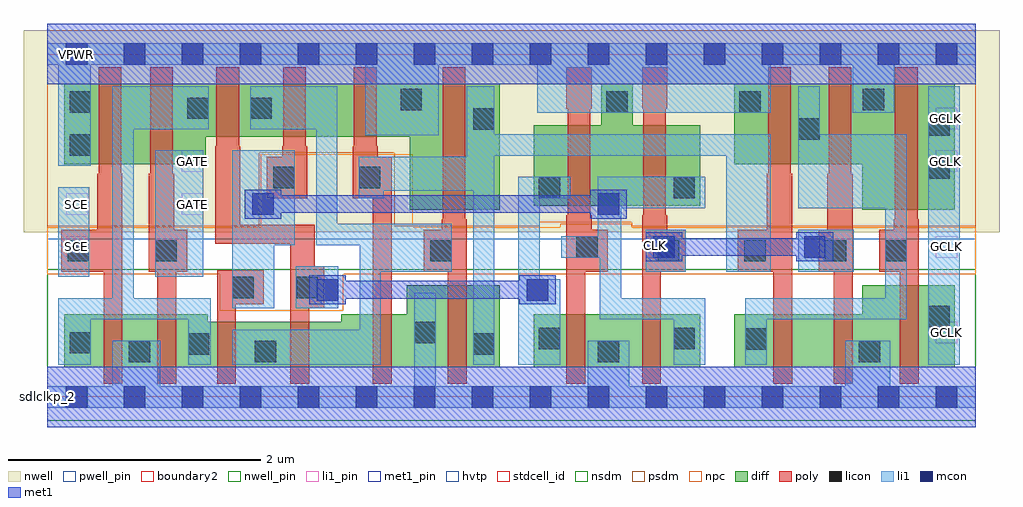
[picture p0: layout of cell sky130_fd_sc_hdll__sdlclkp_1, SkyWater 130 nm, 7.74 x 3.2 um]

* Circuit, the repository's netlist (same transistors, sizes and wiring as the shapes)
* Copyright 2020 The SkyWater PDK Authors
*
* Licensed under the Apache License, Version 2.0 (the "License");
* you may not use this file except in compliance with the License.
* You may obtain a copy of the License at
*
*     https://www.apache.org/licenses/LICENSE-2.0
*
* Unless required by applicable law or agreed to in writing, software
* distributed under the License is distributed on an "AS IS" BASIS,
* WITHOUT WARRANTIES OR CONDITIONS OF ANY KIND, either express or implied.
* See the License for the specific language governing permissions and
* limitations under the License.
*
* SPDX-License-Identifier: Apache-2.0

.SUBCKT sky130_fd_sc_hdll__sdlclkp_1 CLK GATE SCE VGND VNB VPB VPWR GCLK
*.PININFO CLK:I GATE:I SCE:I VGND:I VNB:I VPB:I VPWR:I GCLK:O
MI662 net88 m1 VPWR VPB sky130_fd_pr__pfet_01v8_hvt m=1 w=0.42U l=0.18U mult=1
+ sa=0.265 sb=0.265 sd=0.28 area=0.063 perim=1.14
MI664 M0 clkpos net88 VPB sky130_fd_pr__pfet_01v8_hvt m=1 w=0.42U l=0.18U mult=1
+ sa=0.265 sb=0.265 sd=0.28 area=0.063 perim=1.14
MI659 net76 CLK VPWR VPB sky130_fd_pr__pfet_01v8_hvt m=1 w=0.64U l=0.18U mult=1
+ sa=0.265 sb=0.265 sd=0.28 area=0.063 perim=1.14
MI658 net76 m1 VPWR VPB sky130_fd_pr__pfet_01v8_hvt m=1 w=0.64U l=0.18U mult=1
+ sa=0.265 sb=0.265 sd=0.28 area=0.063 perim=1.14
MI19 m1 M0 VPWR VPB sky130_fd_pr__pfet_01v8_hvt m=1 w=1.0U l=0.18U mult=1 sa=0.265
+ sb=0.265 sd=0.28 area=0.063 perim=1.14
MI22 net68 SCE VPWR VPB sky130_fd_pr__pfet_01v8_hvt m=1 w=0.64U l=0.18U mult=1
+ sa=0.265 sb=0.265 sd=0.28 area=0.063 perim=1.14
MI21 net116 GATE net68 VPB sky130_fd_pr__pfet_01v8_hvt m=1 w=0.64U l=0.18U mult=1
+ sa=0.265 sb=0.265 sd=0.28 area=0.063 perim=1.14
MI47 clkneg clkpos VPWR VPB sky130_fd_pr__pfet_01v8_hvt m=1 w=0.64U l=0.18U mult=1
+ sa=0.265 sb=0.265 sd=0.28 area=0.063 perim=1.14
MI45 clkpos CLK VPWR VPB sky130_fd_pr__pfet_01v8_hvt m=1 w=0.64U l=0.18U mult=1
+ sa=0.265 sb=0.265 sd=0.28 area=0.063 perim=1.14
MI660 GCLK net76 VPWR VPB sky130_fd_pr__pfet_01v8_hvt m=1 w=1.0U l=0.18U mult=1
+ sa=0.265 sb=0.265 sd=0.28 area=0.063 perim=1.14
MI43 net116 clkneg M0 VPB sky130_fd_pr__pfet_01v8_hvt m=1 w=0.42U l=0.18U mult=1
+ sa=0.265 sb=0.265 sd=0.28 area=0.063 perim=1.14
MI42 net116 clkpos M0 VNB sky130_fd_pr__nfet_01v8 m=1 w=0.36U l=0.15U mult=1 sa=0.265
+ sb=0.265 sd=0.28 area=0.063 perim=1.14
MI20 m1 M0 VGND VNB sky130_fd_pr__nfet_01v8 m=1 w=0.65U l=0.15U mult=1 sa=0.265
+ sb=0.265 sd=0.28 area=0.063 perim=1.14
MI655 M0 clkneg net123 VNB sky130_fd_pr__nfet_01v8 m=1 w=0.36U l=0.15U mult=1 sa=0.265
+ sb=0.265 sd=0.28 area=0.063 perim=1.14
MI654 net123 m1 VGND VNB sky130_fd_pr__nfet_01v8 m=1 w=0.42U l=0.15U mult=1 sa=0.265
+ sb=0.265 sd=0.28 area=0.063 perim=1.14
MI24 net116 SCE VGND VNB sky130_fd_pr__nfet_01v8 m=1 w=0.42U l=0.15U mult=1 sa=0.265
+ sb=0.265 sd=0.28 area=0.063 perim=1.14
MI657 net112 CLK VGND VNB sky130_fd_pr__nfet_01v8 m=1 w=0.42U l=0.15U mult=1 sa=0.265
+ sb=0.265 sd=0.28 area=0.063 perim=1.14
MI656 net76 m1 net112 VNB sky130_fd_pr__nfet_01v8 m=1 w=0.42U l=0.15U mult=1 sa=0.265
+ sb=0.265 sd=0.28 area=0.063 perim=1.14
MI23 net116 GATE VGND VNB sky130_fd_pr__nfet_01v8 m=1 w=0.42U l=0.15U mult=1 sa=0.265
+ sb=0.265 sd=0.28 area=0.063 perim=1.14
MI46 clkneg clkpos VGND VNB sky130_fd_pr__nfet_01v8 m=1 w=0.42U l=0.15U mult=1
+ sa=0.265 sb=0.265 sd=0.28 area=0.063 perim=1.14
MI44 clkpos CLK VGND VNB sky130_fd_pr__nfet_01v8 m=1 w=0.42U l=0.15U mult=1 sa=0.265
+ sb=0.265 sd=0.28 area=0.063 perim=1.14
MI653 GCLK net76 VGND VNB sky130_fd_pr__nfet_01v8 m=1 w=0.65U l=0.15U mult=1 sa=0.265
+ sb=0.265 sd=0.28 area=0.063 perim=1.14
.ENDS sky130_fd_sc_hdll__sdlclkp_1

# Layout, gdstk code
import gdstk
lib = gdstk.Library(unit=1e-6, precision=1e-09)
def R(c, l, rs):  # rectangles x0, y0, x1, y1
    for r in rs: c.add(gdstk.rectangle(r[:2], r[2:], *l))
def A(c, l, x, y, w, h, nx, ny, dx, dy):  # array of equal rectangles
    R(c, l, [(x+i*dx, y+j*dy, x+i*dx+w, y+j*dy+h) for i in range(nx) for j in range(ny)])
def P(c, l, *ps):  # polygons
    for p in ps: c.add(gdstk.Polygon(p, *l))
nwell_pin = (64, 16)
nwell = (64, 20)
diff = (65, 20)
poly = (66, 20)
licon = (66, 44)
li1_pin = (67, 16)
li1 = (67, 20)
mcon = (67, 44)
met1_pin = (68, 16)
met1 = (68, 20)
hvtp = (78, 44)
stdcell_id = (81, 4)
nsdm = (93, 44)
psdm = (94, 20)
npc = (95, 20)
pwell_pin = (122, 16)
boundary2 = (236, 0)

sky130_fd_sc_hdll__sdlcl = lib.new_cell('sky130_fd_sc_hdll__sdlclkp_1')
R(sky130_fd_sc_hdll__sdlcl, nwell_pin, [(0.15,2.635,0.32,2.805)])
R(sky130_fd_sc_hdll__sdlcl, nwell, [(-0.19,1.305,7.55,2.91)])
R(sky130_fd_sc_hdll__sdlcl, diff, [(3.855,0.235,5.175,0.655)])
P(sky130_fd_sc_hdll__sdlcl, diff, [(7.195,2.485),(5.445,2.485),(5.445,1.845),(6.46,1.845),(6.46,1.485),(7.195,1.485)],
  [(3.585,0.885),(2.85,0.885),(2.85,0.655),(2.33,0.655),(2.33,0.595),(1.27,0.595),(1.27,0.655),(0.135,0.655),(0.135,0.235),(3.585,0.235)],
  [(3.585,2.485),(0.135,2.485),(0.135,1.845),(1.255,1.845),(1.255,2.065),(2.875,2.065),(2.875,1.485),(3.585,1.485)],
  [(7.195,0.885),(6.46,0.885),(6.46,0.655),(5.445,0.655),(5.445,0.235),(7.195,0.235)],
  [(5.175,2.155),(4.64,2.155),(4.64,2.485),(4.39,2.485),(4.39,2.155),(3.855,2.155),(3.855,1.515),(5.175,1.515)])
P(sky130_fd_sc_hdll__sdlcl, poly, [(0.595,1.77),(0.585,1.77),(0.585,2.615),(0.405,2.615),(0.405,1.77),(0.395,1.77),(0.395,1.325),(0.11,1.325),(0.11,0.995),(0.445,0.995),(0.445,0.105),(0.595,0.105)],
  [(1.11,1.325),(1.005,1.325),(1.005,1.77),(0.995,1.77),(0.995,2.615),(0.815,2.615),(0.815,1.77),(0.805,1.77),(0.805,0.995),(0.87,0.995),(0.87,0.105),(1.02,0.105),(1.02,0.995),(1.11,0.995)],
  [(1.715,1.005),(1.345,1.005),(1.345,0.105),(1.495,0.105),(1.495,0.735),(1.715,0.735)],
  [(2.06,1.99),(2.05,1.99),(2.05,2.615),(1.87,2.615),(1.87,1.99),(1.86,1.99),(1.86,1.905),(1.74,1.905),(1.74,1.575),(2.06,1.575)],
  [(2.195,1.035),(2.12,1.035),(2.12,1.365),(1.53,1.365),(1.53,1.99),(1.52,1.99),(1.52,2.615),(1.34,2.615),(1.34,1.99),(1.33,1.99),(1.33,1.215),(1.925,1.215),(1.925,0.105),(2.075,0.105),(2.075,0.705),(2.195,0.705)],
  [(2.73,1.905),(2.62,1.905),(2.62,1.99),(2.61,1.99),(2.61,2.615),(2.43,2.615),(2.43,1.99),(2.42,1.99),(2.42,1.575),(2.58,1.575),(2.58,0.105),(2.73,0.105)],
  [(3.325,1.41),(3.315,1.41),(3.315,2.615),(3.135,2.615),(3.135,1.41),(3.125,1.41),(3.125,1.325),(2.985,1.325),(2.985,0.995),(3.175,0.995),(3.175,0.105),(3.325,0.105)],
  [(4.445,1.325),(4.315,1.325),(4.315,1.44),(4.305,1.44),(4.305,2.285),(4.315,2.285),(4.315,2.615),(4.115,2.615),(4.115,2.285),(4.125,2.285),(4.125,1.44),(4.115,1.44),(4.115,0.105),(4.265,0.105),(4.265,0.995),(4.445,0.995)],
  [(5.06,1.325),(4.915,1.325),(4.915,1.44),(4.905,1.44),(4.905,2.285),(4.915,2.285),(4.915,2.615),(4.715,2.615),(4.715,2.285),(4.725,2.285),(4.725,1.44),(4.715,1.44),(4.715,0.105),(4.865,0.105),(4.865,0.995),(5.06,0.995)],
  [(5.905,1.77),(5.895,1.77),(5.895,2.615),(5.715,2.615),(5.715,1.77),(5.705,1.77),(5.705,1.325),(5.475,1.325),(5.475,0.995),(5.755,0.995),(5.755,0.105),(5.905,0.105)],
  [(6.385,1.77),(6.375,1.77),(6.375,2.615),(6.195,2.615),(6.195,1.77),(6.185,1.77),(6.185,1.325),(6.115,1.325),(6.115,0.995),(6.235,0.995),(6.235,0.105),(6.385,0.105)],
  [(6.91,1.41),(6.9,1.41),(6.9,2.615),(6.72,2.615),(6.72,1.41),(6.71,1.41),(6.71,1.325),(6.595,1.325),(6.595,0.995),(6.76,0.995),(6.76,0.105),(6.91,0.105)])
R(sky130_fd_sc_hdll__sdlcl, licon, [(0.645,0.275,0.815,0.445), (1.645,0.275,1.815,0.445), (4.365,0.275,4.535,0.445), (6.435,0.275,6.605,0.445), (1.115,0.335,1.285,0.505), (3.375,0.335,3.545,0.505), (0.175,0.345,0.345,0.515), (5.535,0.375,5.705,0.545), (3.895,0.38,4.065,0.55), (4.965,0.38,5.135,0.55), (2.91,0.425,3.08,0.595), (6.985,0.555,7.155,0.725), (1.465,0.785,1.635,0.955), (1.975,0.785,2.145,0.955), (0.16,1.075,0.33,1.245), (0.855,1.075,1.025,1.245), (3.035,1.075,3.205,1.245), (4.84,1.075,5.01,1.245), (5.525,1.075,5.695,1.245), (6.165,1.075,6.335,1.245), (6.645,1.075,6.815,1.245), (4.195,1.105,4.365,1.275), (3.895,1.575,4.065,1.745), (4.965,1.575,5.135,1.745), (1.79,1.655,1.96,1.825), (2.47,1.655,2.64,1.825), (6.985,1.73,7.155,1.9), (0.175,1.915,0.345,2.085), (5.955,2.04,6.125,2.21), (6.985,2.07,7.155,2.24), (3.375,2.12,3.545,2.29), (1.11,2.205,1.28,2.375), (1.61,2.205,1.78,2.375), (0.175,2.255,0.345,2.425), (4.43,2.255,4.6,2.425), (5.485,2.255,5.655,2.425), (2.8,2.275,2.97,2.445), (6.465,2.275,6.635,2.445)])
A(sky130_fd_sc_hdll__sdlcl, li1_pin, 7.045, 0.425, 0.17, 0.17, 1, 3, 0, 0.68)
R(sky130_fd_sc_hdll__sdlcl, li1_pin, [(0.15,1.105,0.32,1.275), (0.15,1.445,0.32,1.615), (1.065,1.445,1.235,1.615), (1.065,1.785,1.235,1.955), (7.045,2.125,7.215,2.295)])
R(sky130_fd_sc_hdll__sdlcl, li1, [(6.985,0.255,7.235,2.465), (1.97,0.705,2.305,1.035), (0.085,0.955,0.33,1.665), (0.855,0.955,1.235,1.955), (4.745,0.995,5.06,1.325), (5.955,0.995,6.395,1.325)])
P(sky130_fd_sc_hdll__sdlcl, li1, [(7.36,2.805),(0,2.805),(0,2.635),(0.085,2.635),(0.085,1.835),(0.345,1.835),(0.345,2.635),(2.52,2.635),(2.52,2.075),(3.105,2.075),(3.105,2.635),(3.885,2.635),(3.885,2.255),(5.735,2.255),(5.735,2.635),(6.385,2.635),(6.385,2.255),(6.715,2.255),(6.715,2.635),(7.36,2.635)],
  [(5.735,2.085),(3.545,2.085),(3.545,2.465),(3.325,2.465),(3.325,1.905),(2.47,1.905),(2.47,1.575),(2.665,1.575),(2.665,1.635),(3.375,1.635),(3.375,0.255),(3.545,0.255),(3.545,1.915),(5.385,1.915),(5.385,0.995),(5.735,0.995)],
  [(5.215,1.745),(4.365,1.745),(4.365,1.275),(4.075,1.275),(4.075,1.105),(4.38,1.105),(4.38,0.615),(4.965,0.615),(4.965,0.255),(5.215,0.255),(5.215,0.785),(4.55,0.785),(4.55,1.495),(5.215,1.495)],
  [(4.065,0.935),(3.905,0.935),(3.905,1.575),(4.145,1.575),(4.145,1.745),(3.735,1.745),(3.735,0.255),(4.065,0.255)],
  [(3.205,1.375),(2.3,1.375),(2.3,2.465),(1.61,2.465),(1.61,2.125),(2.13,2.125),(2.13,1.205),(2.475,1.205),(2.475,0.535),(1.465,0.535),(1.465,0.255),(2.645,0.255),(2.645,0.995),(3.205,0.995)],
  [(1.96,1.955),(1.465,1.955),(1.465,0.705),(1.8,0.705),(1.8,1.205),(1.96,1.205)],
  [(1.28,2.465),(0.515,2.465),(0.515,0.785),(0.085,0.785),(0.085,0.255),(0.345,0.255),(0.345,0.615),(1.115,0.615),(1.115,0.255),(1.295,0.255),(1.295,0.785),(0.685,0.785),(0.685,2.125),(1.28,2.125)],
  [(7.36,0.085),(6.685,0.085),(6.685,0.445),(6.325,0.445),(6.325,0.085),(4.615,0.085),(4.615,0.445),(4.285,0.445),(4.285,0.085),(3.08,0.085),(3.08,0.825),(2.91,0.825),(2.91,0.085),(0.895,0.085),(0.895,0.445),(0.515,0.445),(0.515,0.085),(0,0.085),(0,-0.085),(7.36,-0.085)],
  [(6.815,2.085),(6.125,2.085),(6.125,2.465),(5.955,2.465),(5.955,1.495),(6.645,1.495),(6.645,0.785),(5.535,0.785),(5.535,0.255),(5.705,0.255),(5.705,0.615),(6.815,0.615)])
A(sky130_fd_sc_hdll__sdlcl, mcon, 0.145, -0.085, 0.17, 0.17, 16, 2, 0.46, 2.72)
R(sky130_fd_sc_hdll__sdlcl, mcon, [(2.135,0.765,2.305,0.935), (3.8,0.765,3.97,0.935), (4.805,1.105,4.975,1.275), (6,1.105,6.17,1.275), (1.625,1.445,1.795,1.615), (4.365,1.445,4.535,1.615)])
R(sky130_fd_sc_hdll__sdlcl, met1_pin, [(0.15,-0.085,0.32,0.085), (4.745,1.105,4.915,1.275), (0.15,2.635,0.32,2.805)])
R(sky130_fd_sc_hdll__sdlcl, met1, [(0,-0.24,7.36,0.24), (0,2.48,7.36,2.96)])
P(sky130_fd_sc_hdll__sdlcl, met1, [(4.03,0.965),(3.74,0.965),(3.74,0.92),(2.365,0.92),(2.365,0.965),(2.075,0.965),(2.075,0.735),(2.365,0.735),(2.365,0.78),(3.74,0.78),(3.74,0.735),(4.03,0.735)],
  [(6.23,1.305),(5.94,1.305),(5.94,1.26),(5.035,1.26),(5.035,1.305),(4.745,1.305),(4.745,1.075),(5.035,1.075),(5.035,1.12),(5.94,1.12),(5.94,1.075),(6.23,1.075)],
  [(4.595,1.645),(4.305,1.645),(4.305,1.6),(1.855,1.6),(1.855,1.645),(1.565,1.645),(1.565,1.415),(1.855,1.415),(1.855,1.46),(4.305,1.46),(4.305,1.415),(4.595,1.415)])
R(sky130_fd_sc_hdll__sdlcl, hvtp, [(0,1.25,7.36,2.72)])
R(sky130_fd_sc_hdll__sdlcl, stdcell_id, [(0,0,7.36,2.72)])
R(sky130_fd_sc_hdll__sdlcl, nsdm, [(0,-0.19,7.36,1.015)])
P(sky130_fd_sc_hdll__sdlcl, psdm, [(7.36,2.91),(0,2.91),(0,1.355),(1.68,1.355),(1.68,1.935),(2.75,1.935),(2.75,1.355),(3.905,1.355),(3.905,1.385),(4.635,1.385),(4.635,1.355),(7.36,1.355)])
P(sky130_fd_sc_hdll__sdlcl, npc, [(7.36,1.345),(4.635,1.345),(4.635,1.375),(4.065,1.375),(4.065,1.345),(2.895,1.345),(2.895,1.925),(1.69,1.925),(1.69,1.345),(0,1.345),(0,0.975),(1.365,0.975),(1.365,0.685),(2.345,0.685),(2.345,0.975),(7.36,0.975)])
R(sky130_fd_sc_hdll__sdlcl, pwell_pin, [(0.15,-0.085,0.32,0.085)])
R(sky130_fd_sc_hdll__sdlcl, boundary2, [(0,0,7.36,2.72)])
sky130_fd_sc_hdll__sdlcl.add(gdstk.Label('sdlclkp_2', (0,0), layer=83, texttype=44))
sky130_fd_sc_hdll__sdlcl.add(gdstk.Label('CLK', (4.825,1.205), layer=68, texttype=5))
sky130_fd_sc_hdll__sdlcl.add(gdstk.Label('VGND', (0.23,0), layer=68, texttype=5))
sky130_fd_sc_hdll__sdlcl.add(gdstk.Label('VPWR', (0.23,2.72), layer=68, texttype=5))
sky130_fd_sc_hdll__sdlcl.add(gdstk.Label('SCE', (0.23,1.53), layer=67, texttype=5))
sky130_fd_sc_hdll__sdlcl.add(gdstk.Label('GCLK', (7.125,2.21), layer=67, texttype=5))
sky130_fd_sc_hdll__sdlcl.add(gdstk.Label('GCLK', (7.125,1.87), layer=67, texttype=5))
sky130_fd_sc_hdll__sdlcl.add(gdstk.Label('GATE', (1.15,1.87), layer=67, texttype=5))
sky130_fd_sc_hdll__sdlcl.add(gdstk.Label('GCLK', (7.13,0.51), layer=67, texttype=5))
sky130_fd_sc_hdll__sdlcl.add(gdstk.Label('GATE', (1.15,1.53), layer=67, texttype=5))
sky130_fd_sc_hdll__sdlcl.add(gdstk.Label('SCE', (0.23,1.19), layer=67, texttype=5))
sky130_fd_sc_hdll__sdlcl.add(gdstk.Label('GCLK', (7.13,1.19), layer=67, texttype=5))
sky130_fd_sc_hdll__sdlcl.add(gdstk.Label('VPB', (0.235,2.72), layer=64, texttype=5))
sky130_fd_sc_hdll__sdlcl.add(gdstk.Label('VNB', (0.235,0), layer=64, texttype=59))

lib.write_gds('sky130_fd_sc_hdll__sdlclkp_1.gds')
